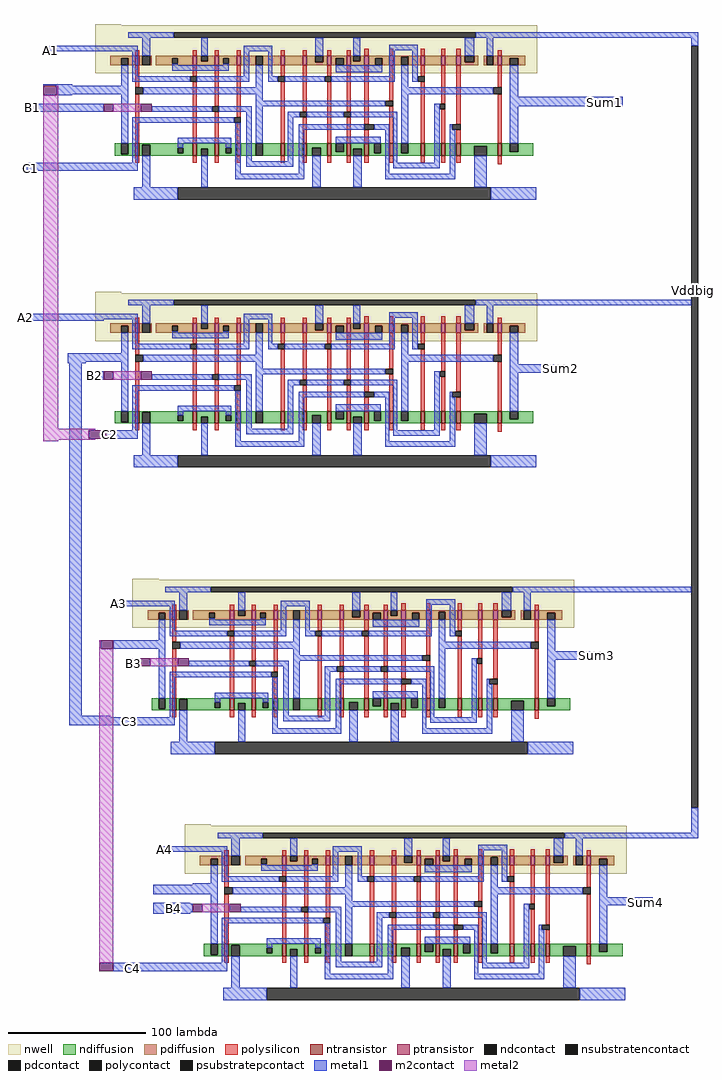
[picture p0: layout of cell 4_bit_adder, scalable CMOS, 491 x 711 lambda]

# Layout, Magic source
magic
tech scmos
<< nsubstratencontact >>
rect 434 -443 439 112
<< metal1 >>
rect 299 118 439 122
rect 434 112 439 118
rect -34 108 8 112
rect -38 83 -17 84
rect -28 77 8 83
rect -28 76 -17 77
rect -48 64 6 70
rect 311 69 384 75
rect 308 68 384 69
rect -50 21 8 27
rect 299 -77 434 -73
rect -52 -88 6 -83
rect -20 -118 6 -112
rect -20 -119 -7 -118
rect -19 -376 -10 -119
rect -3 -131 4 -125
rect 312 -126 342 -120
rect 328 -286 434 -282
rect 14 -296 36 -292
rect 13 -327 33 -321
rect 25 -340 32 -334
rect 339 -335 368 -329
rect -19 -377 11 -376
rect -19 -383 40 -377
rect 434 -461 439 -443
rect 363 -465 439 -461
rect 45 -475 72 -471
rect 71 -499 86 -498
rect 42 -500 86 -499
rect 42 -506 72 -500
rect 42 -520 69 -512
rect 376 -514 406 -508
rect 13 -562 75 -556
<< m2contact >>
rect -38 76 -28 83
rect -5 -174 8 -168
rect 4 -327 13 -321
rect 3 -562 13 -556
<< metal2 >>
rect -28 76 -27 83
rect -38 -167 -27 76
rect -38 -168 0 -167
rect -38 -174 -5 -168
rect -38 -175 0 -174
rect -38 -176 -27 -175
rect 3 -327 4 -321
rect 3 -556 13 -327
use berkan_full_adder  berkan_full_adder_0
transform 1 0 132 0 1 97
box -132 -97 190 31
use berkan_full_adder  berkan_full_adder_1
transform 1 0 132 0 1 -98
box -132 -97 190 31
use berkan_full_adder  berkan_full_adder_2
transform 1 0 159 0 1 -307
box -132 -97 190 31
use berkan_full_adder  berkan_full_adder_3
transform 1 0 197 0 1 -486
box -132 -97 190 31
<< labels >>
rlabel metal1 -33 109 -33 109 1 A1
rlabel metal1 -46 67 -46 67 1 B1
rlabel metal1 -47 23 -47 23 3 C1
rlabel metal1 -51 -86 -51 -86 3 A2
rlabel metal1 -1 -128 -1 -128 1 B2
rlabel space 10 -171 10 -171 1 C2
rlabel metal1 17 -294 17 -294 1 A3
rlabel metal1 28 -338 28 -338 1 B3
rlabel metal1 25 -380 25 -380 1 C3
rlabel metal1 27 -560 27 -560 1 C4
rlabel metal1 57 -516 57 -516 1 B4
rlabel metal1 50 -473 50 -473 1 A4
rlabel metal1 401 -512 401 -512 7 Sum4
rlabel metal1 365 -332 365 -332 1 Sum3
rlabel metal1 339 -123 339 -123 1 Sum2
rlabel metal1 371 71 371 71 1 Sum1
rlabel nsubstratencontact 436 -66 436 -66 7 Vddbig
<< end >>

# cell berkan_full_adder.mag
magic
tech scmos
<< nwell >>
rect -132 30 -113 31
rect -132 -5 190 30
<< ntransistor >>
rect -103 -65 -100 -56
rect -61 -65 -58 -56
rect -45 -65 -42 -56
rect -29 -65 -26 -56
rect 3 -65 6 -56
rect 19 -65 22 -56
rect 37 -65 40 -56
rect 51 -65 54 -56
rect 64 -65 67 -56
rect 82 -65 85 -56
rect 105 -65 108 -56
rect 120 -65 123 -56
rect 131 -65 134 -56
rect 161 -65 164 -56
<< ptransistor >>
rect -103 1 -100 8
rect -61 1 -58 8
rect -45 1 -42 8
rect -29 1 -26 8
rect 3 1 6 8
rect 19 1 22 8
rect 37 1 40 8
rect 51 1 54 8
rect 64 1 67 8
rect 82 1 85 8
rect 105 1 108 8
rect 120 1 123 8
rect 131 1 134 8
rect 161 1 164 8
<< ndiffusion >>
rect -118 -64 -113 -56
rect -108 -64 -103 -56
rect -118 -65 -103 -64
rect -100 -57 -61 -56
rect -100 -65 -98 -57
rect -92 -59 -61 -57
rect -92 -63 -72 -59
rect -68 -63 -61 -59
rect -92 -65 -61 -63
rect -58 -60 -45 -56
rect -58 -65 -55 -60
rect -50 -65 -45 -60
rect -42 -59 -29 -56
rect -42 -63 -37 -59
rect -33 -63 -29 -59
rect -42 -65 -29 -63
rect -26 -65 -15 -56
rect -10 -65 3 -56
rect 6 -65 19 -56
rect 22 -59 37 -56
rect 22 -65 26 -59
rect 32 -65 37 -59
rect 40 -62 43 -56
rect 49 -62 51 -56
rect 40 -65 51 -62
rect 54 -60 64 -56
rect 54 -65 56 -60
rect 62 -65 64 -60
rect 67 -63 71 -56
rect 76 -63 82 -56
rect 67 -65 82 -63
rect 85 -63 91 -56
rect 96 -63 105 -56
rect 85 -65 105 -63
rect 108 -65 120 -56
rect 123 -65 131 -56
rect 134 -58 161 -56
rect 134 -65 144 -58
rect 153 -65 161 -58
rect 164 -62 170 -56
rect 176 -62 187 -56
rect 164 -65 187 -62
<< pdiffusion >>
rect -121 6 -103 8
rect -121 1 -113 6
rect -108 1 -103 6
rect -100 1 -98 8
rect -92 1 -91 8
rect -88 6 -61 8
rect -88 2 -76 6
rect -72 2 -61 6
rect -88 1 -61 2
rect -58 4 -55 8
rect -50 4 -45 8
rect -58 1 -45 4
rect -42 6 -29 8
rect -42 2 -39 6
rect -35 2 -29 6
rect -42 1 -29 2
rect -26 1 -15 8
rect -10 1 3 8
rect 6 1 19 8
rect 22 3 28 8
rect 34 3 37 8
rect 22 1 37 3
rect 40 6 51 8
rect 40 1 43 6
rect 49 1 51 6
rect 54 4 56 8
rect 61 4 64 8
rect 54 1 64 4
rect 67 6 82 8
rect 67 1 72 6
rect 77 1 82 6
rect 85 7 105 8
rect 85 1 91 7
rect 96 1 105 7
rect 108 1 120 8
rect 123 1 131 8
rect 134 3 137 8
rect 144 3 147 8
rect 134 1 147 3
rect 151 1 153 8
rect 158 1 161 8
rect 164 6 181 8
rect 164 1 170 6
rect 176 1 181 6
<< ndcontact >>
rect -113 -64 -108 -56
rect -98 -65 -92 -57
rect -72 -63 -68 -59
rect -55 -65 -50 -60
rect -37 -63 -33 -59
rect -15 -65 -10 -56
rect 26 -65 32 -59
rect 43 -62 49 -56
rect 56 -65 62 -60
rect 71 -63 76 -56
rect 91 -63 96 -56
rect 144 -65 153 -58
rect 170 -62 176 -56
<< pdcontact >>
rect -113 1 -108 6
rect -98 1 -92 8
rect -76 2 -72 6
rect -55 4 -50 8
rect -39 2 -35 6
rect -15 1 -10 8
rect 28 3 34 8
rect 43 1 49 6
rect 56 4 61 8
rect 72 1 77 6
rect 91 1 96 7
rect 137 3 144 8
rect 153 1 158 8
rect 170 1 176 6
<< psubstratepcontact >>
rect -72 -97 156 -88
<< nsubstratencontact >>
rect -75 21 145 25
<< polysilicon >>
rect -103 8 -100 12
rect -61 8 -58 12
rect -45 8 -42 12
rect -29 8 -26 12
rect 3 8 6 12
rect 19 8 22 12
rect 37 8 40 12
rect 51 8 54 12
rect 64 8 67 13
rect 82 8 85 13
rect 105 8 108 13
rect 120 8 123 13
rect 131 8 134 13
rect 161 8 164 12
rect -103 -15 -100 1
rect -61 -7 -58 1
rect -103 -56 -100 -20
rect -61 -56 -58 -11
rect -45 -29 -42 1
rect -45 -56 -42 -33
rect -29 -37 -26 1
rect 3 -7 6 1
rect -29 -56 -26 -41
rect 3 -56 6 -11
rect 19 -33 22 1
rect 37 -7 40 1
rect 19 -56 22 -37
rect 37 -56 40 -11
rect 51 -33 54 1
rect 51 -56 54 -37
rect 64 -42 67 1
rect 82 -25 85 1
rect 105 -7 108 1
rect 64 -56 67 -46
rect 82 -56 85 -29
rect 105 -56 108 -11
rect 120 -27 123 1
rect 120 -56 123 -31
rect 131 -42 134 1
rect 161 -15 164 1
rect 131 -56 134 -46
rect 161 -56 164 -20
rect -103 -70 -100 -65
rect -61 -70 -58 -65
rect -45 -70 -42 -65
rect -29 -70 -26 -65
rect 3 -70 6 -65
rect 19 -70 22 -65
rect 37 -70 40 -65
rect 51 -70 54 -65
rect 64 -70 67 -65
rect 82 -70 85 -65
rect 105 -70 108 -65
rect 120 -70 123 -65
rect 131 -70 134 -65
rect 161 -71 164 -65
<< polycontact >>
rect -63 -11 -58 -7
rect -103 -20 -97 -15
rect -47 -33 -42 -29
rect 1 -11 6 -7
rect -31 -41 -26 -37
rect 35 -11 40 -7
rect 17 -37 22 -33
rect 49 -37 54 -33
rect 103 -11 108 -7
rect 79 -29 85 -25
rect 64 -46 71 -42
rect 119 -31 123 -27
rect 158 -20 164 -15
rect 128 -46 134 -42
<< metal1 >>
rect -108 21 -75 25
rect 145 21 170 25
rect -129 11 -101 15
rect -113 -14 -108 1
rect -105 -7 -101 11
rect -98 8 -92 21
rect -55 8 -50 21
rect -24 11 -3 15
rect -76 1 -72 2
rect -39 1 -35 2
rect -76 -3 -35 1
rect -24 -7 -20 11
rect -105 -11 -63 -7
rect -58 -11 -20 -7
rect -128 -20 -108 -14
rect -15 -15 -10 1
rect -6 -7 -3 11
rect 28 8 34 21
rect 56 8 61 21
rect 82 12 103 16
rect 43 -4 77 1
rect 82 -7 86 12
rect -6 -11 1 -7
rect 6 -11 35 -7
rect 40 -11 86 -7
rect -97 -20 -10 -15
rect -129 -33 -126 -27
rect -113 -56 -108 -20
rect -15 -25 -10 -20
rect 91 -15 96 1
rect 99 -11 103 12
rect 137 8 144 21
rect 153 8 158 21
rect 91 -20 158 -15
rect -15 -29 79 -25
rect -91 -33 -47 -29
rect -42 -33 -18 -29
rect -105 -41 -31 -37
rect -105 -70 -101 -41
rect -72 -56 -33 -52
rect -126 -76 -101 -70
rect -72 -59 -68 -56
rect -37 -59 -33 -56
rect -98 -88 -92 -65
rect -55 -88 -50 -65
rect -30 -78 -26 -41
rect -22 -69 -18 -33
rect -15 -56 -10 -29
rect 8 -37 17 -33
rect 22 -37 49 -33
rect 54 -37 88 -33
rect 8 -69 12 -37
rect -22 -73 12 -69
rect 16 -46 64 -42
rect 71 -46 82 -42
rect 16 -78 20 -46
rect 43 -56 76 -51
rect -30 -82 20 -78
rect 26 -88 32 -65
rect 56 -88 62 -65
rect 79 -78 82 -46
rect 85 -70 88 -37
rect 91 -56 96 -20
rect 170 -22 176 1
rect 115 -70 119 -27
rect 170 -28 180 -22
rect 85 -74 119 -70
rect 126 -46 128 -42
rect 126 -78 130 -46
rect 170 -56 176 -28
rect 79 -82 130 -78
rect 144 -88 153 -65
rect -104 -97 -72 -88
rect 156 -97 189 -88
<< m2contact >>
rect -126 -33 -119 -27
rect -99 -33 -91 -27
<< metal2 >>
rect -119 -33 -99 -27
<< labels >>
rlabel metal1 -78 -94 -78 -94 1 Gnd
rlabel metal1 -85 22 -85 22 1 Vdd
rlabel m2contact -98 -31 -98 -31 3 B
rlabel metal1 -96 -39 -96 -39 3 C
rlabel metal1 178 -25 178 -25 1 Sum
rlabel metal1 -117 -17 -117 -17 1 Cout
rlabel metal1 -96 -10 -96 -10 3 A
<< end >>
